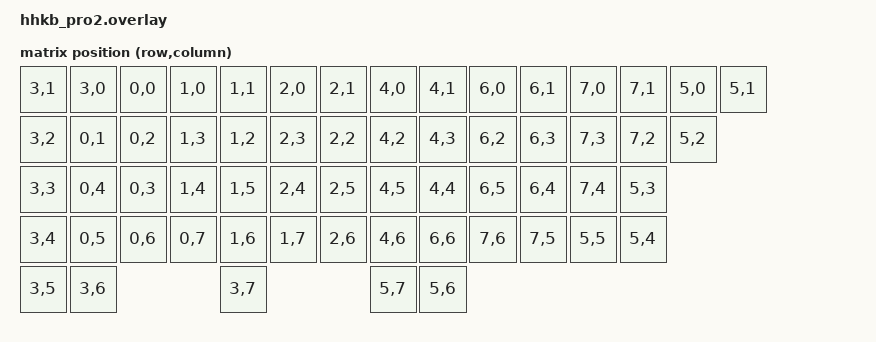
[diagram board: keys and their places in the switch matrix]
#include <dt-bindings/zmk/matrix_transform.h>
#include <dt-bindings/zmk/kscan_mock.h>

#include "hhkb_pro2-layout.dtsi"

/ {
    chosen {
        zmk,physical-layout = &hhkb_pro2_layout;
    };

    kscan0: kscan0 {
        compatible = "zmk,kscan-hhkb-pro2";
        gpios = <&hhkb_pro2_connector 0 GPIO_ACTIVE_HIGH>,               /* 0: POWER */
                <&hhkb_pro2_connector 1 (GPIO_ACTIVE_LOW|GPIO_PULL_UP)>, /* 1: KEY */
                <&hhkb_pro2_connector 2 GPIO_ACTIVE_HIGH>,               /* 2: HYS */
                <&hhkb_pro2_connector 3 GPIO_ACTIVE_HIGH>,               /* 3: BIT0 */
                <&hhkb_pro2_connector 4 GPIO_ACTIVE_HIGH>,               /* 4: BIT1 */
                <&hhkb_pro2_connector 5 GPIO_ACTIVE_HIGH>,               /* 5: BIT2 */
                <&hhkb_pro2_connector 6 GPIO_ACTIVE_HIGH>,               /* 6: BIT3 */
                <&hhkb_pro2_connector 7 GPIO_ACTIVE_HIGH>,               /* 7: BIT4 */
                <&hhkb_pro2_connector 8 GPIO_ACTIVE_HIGH>,               /* 8: BIT5 */
                <&hhkb_pro2_connector 9 GPIO_ACTIVE_HIGH>;               /* 9: STROBE */
    };

    default_transform: keymap_transform_0 {
        compatible = "zmk,matrix-transform";
        columns = <8>;
        rows = <8>;
        map = <
        RC(3,1) RC(3,0) RC(0,0) RC(1,0) RC(1,1) RC(2,0) RC(2,1) RC(4,0) RC(4,1) RC(6,0) RC(6,1) RC(7,0) RC(7,1) RC(5,0) RC(5,1)
        RC(3,2) RC(0,1) RC(0,2) RC(1,3) RC(1,2) RC(2,3) RC(2,2) RC(4,2) RC(4,3) RC(6,2) RC(6,3) RC(7,3) RC(7,2) RC(5,2)
        RC(3,3) RC(0,4) RC(0,3) RC(1,4) RC(1,5) RC(2,4) RC(2,5) RC(4,5) RC(4,4) RC(6,5) RC(6,4) RC(7,4) RC(5,3)
        RC(3,4) RC(0,5) RC(0,6) RC(0,7) RC(1,6) RC(1,7) RC(2,6) RC(4,6) RC(6,6) RC(7,6) RC(7,5) RC(5,5) RC(5,4)
        RC(3,5) RC(3,6)                 RC(3,7)                 RC(5,7) RC(5,6)
        >;
    };
};

&hhkb_pro2_layout {
    kscan = <&kscan0>;
    transform = <&default_transform>;
};
